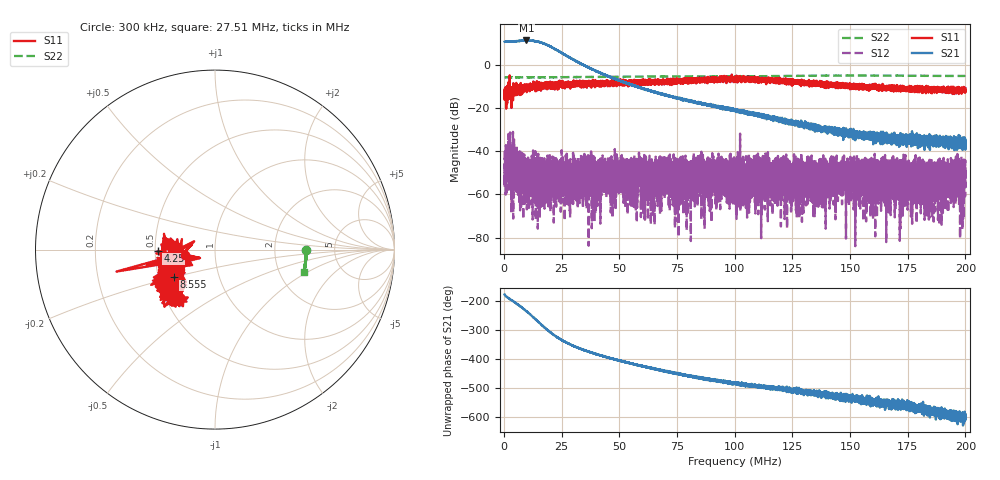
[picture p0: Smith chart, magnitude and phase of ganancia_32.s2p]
# Hz S DB R 50
! CMT, M5065, 19127446, 24.2.4/2
! Date: 11/8/2024 5:12:02 PM
! Data: Format (Calibration Info)
! Freq	S11:dB/Ang(F2)	S21:dB/Ang(F2)	S12:dB/Ang(F2)	S22:dB/Ang(F2)
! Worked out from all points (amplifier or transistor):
!   9000 points, 300 kHz to 200 MHz, reference 50 ohm
!   highest |S21| = 11.1 dB at 9.709 MHz (marker M1)
!   |S21| within 3 dB of that: start of sweep to 20.42 MHz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
!   unconditionally stable (mu >= 1): start of sweep to end of sweep
!   at 33.59 MHz: K = 78.88, MAG = 1.9 dB, |S12| = -47.6 dB
!   at 100.2 MHz: K = 1082.08, MAG = -18.7 dB, |S12| = -50.5 dB
!   at 200 MHz: K = 6103.04, MAG = -33.2 dB, |S12| = -50.5 dB
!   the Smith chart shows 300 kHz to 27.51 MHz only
!   S11 on the Smith chart (normalised r, x): 300 kHz: 0.71, -0.04; 4.25 MHz: 0.52, -0.01; 8.555 MHz: 0.60, -0.20; 27.51 MHz: 0.57, -0.36
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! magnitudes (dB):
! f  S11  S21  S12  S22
! 300 kHz  -15.3  10.6  -40.1  -5.9
! 1.254 MHz  -16.9  10.6  -46.7  -5.9
! 4.25 MHz  -9.9  10.7  -51.1  -5.9
! 8.555 MHz  -11.2  11.1  -59.5  -5.9
! 9.709 MHz  -10.2  11.1  -57.9  -5.9
! 17.37 MHz  -8.5  9.7  -61.8  -5.9
! 19.45 MHz  -8.7  8.7  -55.4  -5.9
! 27.51 MHz  -9.2  3.8  -56.7  -5.8
! 29.08 MHz  -9.1  2.9  -53.9  -5.8
! 33.59 MHz  -10.7  0.2  -47.6  -5.8
! 64.46 MHz  -8.8  -12.4  -49.2  -5.6
! 66.87 MHz  -7.4  -13.2  -57.9  -5.5
! 71.71 MHz  -7.6  -14.6  -51.4  -5.5
! 74.75 MHz  -8.0  -15.3  -44.5  -5.5
! 84.16 MHz  -7.0  -17.6  -41.2  -5.5
! 100.2 MHz  -6.7  -21.2  -50.5  -5.4
! 133.4 MHz  -9.2  -29.3  -54.5  -5.2
! 166.7 MHz  -11.1  -34.7  -56.9  -5.1
! 183.5 MHz  -11.8  -34.7  -53.7  -5.2
! 196.1 MHz  -11.8  -37.9  -42.9  -5.3
! 198.4 MHz  -11.3  -35.0  -49.2  -5.3
! 200 MHz  -11.0  -35.1  -50.5  -5.3
